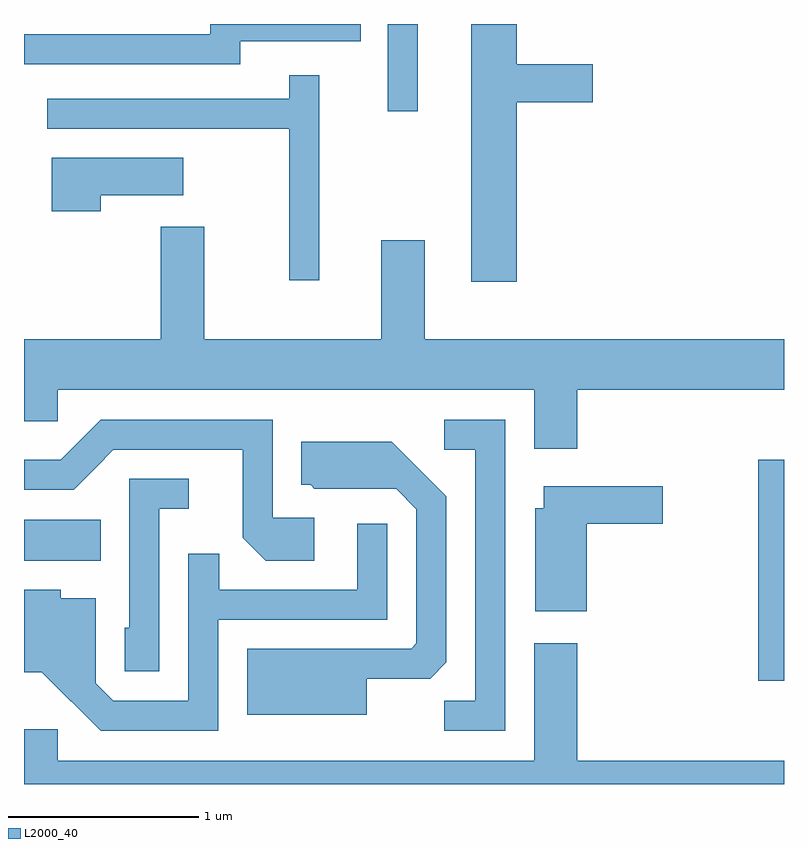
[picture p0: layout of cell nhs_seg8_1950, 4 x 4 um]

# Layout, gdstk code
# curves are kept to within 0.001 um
import gdstk
lib = gdstk.Library(unit=1e-6, precision=1e-09)
def R(c, l, rs):  # rectangles x0, y0, x1, y1
    for r in rs: c.add(gdstk.rectangle(r[:2], r[2:], *l))
def P(c, l, *ps):  # polygons
    for p in ps: c.add(gdstk.Polygon(p, *l))
L2000_40 = (2000, 40)

nhs_seg8_1950 = lib.new_cell('nhs_seg8_1950')
R(nhs_seg8_1950, L2000_40, [(247.476,1834.886,247.611,1836.049), (243.611,1835.516,244.014,1835.734), (245.526,1837.883,245.684,1838.342)])
P(nhs_seg8_1950, L2000_40, [(246.204,1837.931),(246.604,1837.931),(246.604,1838.129),(246.204,1838.129),(246.204,1838.342),(245.966,1838.342),(245.966,1836.986),(246.204,1836.986)],
  [(244.749,1838.251),(245.383,1838.251),(245.383,1838.342),(244.591,1838.342),(244.591,1838.289),(243.611,1838.289),(243.611,1838.131),(244.749,1838.131)],
  [(245.164,1838.073),(245.006,1838.073),(245.006,1837.949),(243.733,1837.949),(243.733,1837.791),(245.006,1837.791),(245.006,1836.993),(245.164,1836.993)],
  [(244.014,1837.441),(244.449,1837.441),(244.449,1837.639),(243.756,1837.639),(243.756,1837.356),(244.014,1837.356)],
  [(246.524,1836.416),(247.611,1836.416),(247.611,1836.684),(245.719,1836.684),(245.719,1837.204),(245.491,1837.204),(245.491,1836.684),(244.559,1836.684),(244.559,1837.274),(244.331,1837.274),(244.331,1836.684),(243.611,1836.684),(243.611,1836.251),(243.789,1836.251),(243.789,1836.416),(246.296,1836.416),(246.296,1836.106),(246.524,1836.106)],
  [(245.139,1835.744),(244.919,1835.744),(244.919,1836.259),(244.014,1836.259),(243.804,1836.049),(243.611,1836.049),(243.611,1835.891),(243.872,1835.891),(244.082,1836.101),(244.761,1836.101),(244.761,1835.639),(244.884,1835.516),(245.139,1835.516)],
  [(246.144,1836.259),(245.823,1836.259),(245.823,1836.101),(245.986,1836.101),(245.986,1834.779),(245.823,1834.779),(245.823,1834.621),(246.144,1834.621)],
  [(245.414,1834.896),(245.749,1834.896),(245.834,1834.982),(245.834,1835.857),(245.547,1836.144),(245.071,1836.144),(245.071,1835.916),(245.119,1835.916),(245.139,1835.896),(245.569,1835.896),(245.676,1835.789),(245.676,1835.082),(245.649,1835.054),(244.786,1835.054),(244.786,1834.706),(245.414,1834.706)],
  [(244.324,1835.791),(244.478,1835.791),(244.478,1835.949),(244.166,1835.949),(244.166,1835.164),(244.141,1835.164),(244.141,1834.936),(244.324,1834.936)],
  [(246.574,1835.711),(246.974,1835.711),(246.974,1835.909),(246.346,1835.909),(246.346,1835.794),(246.301,1835.794),(246.301,1835.251),(246.574,1835.251)],
  [(244.634,1835.206),(245.524,1835.206),(245.524,1835.713),(245.366,1835.713),(245.366,1835.364),(244.639,1835.364),(244.639,1835.553),(244.476,1835.553),(244.476,1834.779),(244.082,1834.779),(243.989,1834.872),(243.989,1835.319),(243.804,1835.319),(243.804,1835.364),(243.611,1835.364),(243.611,1834.931),(243.704,1834.931),(244.014,1834.621),(244.634,1834.621)],
  [(247.611,1834.464),(246.524,1834.464),(246.524,1835.084),(246.296,1835.084),(246.296,1834.464),(243.789,1834.464),(243.789,1834.629),(243.611,1834.629),(243.611,1834.342),(247.611,1834.342)])

lib.write_gds('nhs_seg8_1950.gds')
